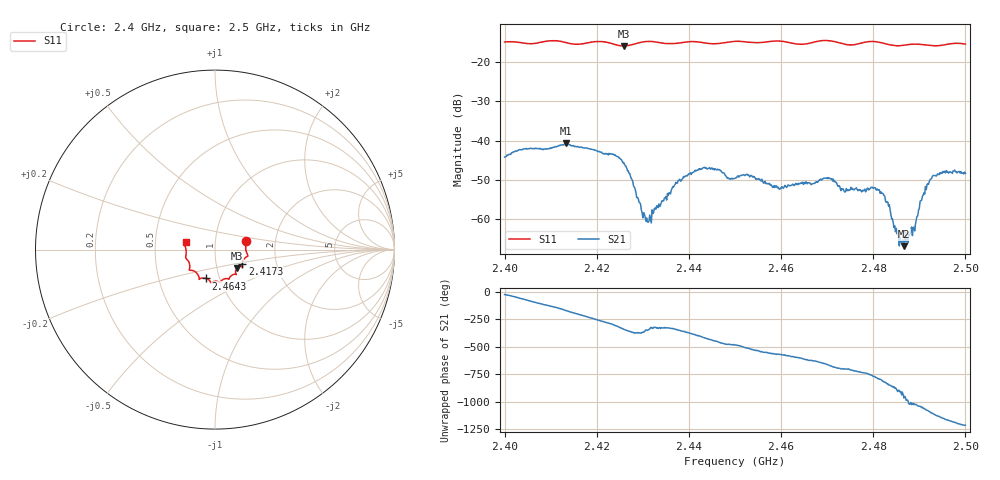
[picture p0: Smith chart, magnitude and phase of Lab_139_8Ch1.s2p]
# Hz S RI R 50
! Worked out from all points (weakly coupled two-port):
!   601 points, 2.4 GHz to 2.5 GHz, reference 50 ohm
!   highest |S21| = -40.72 dB at 2.4133 GHz (marker M1); lowest = -66.9 dB at 2.4867 GHz (marker M2)
!   lowest |S11| = -15.9 dB at 2.4258 GHz (marker M3), VSWR 1.38, Z = 62.3 - j13.3 ohm
!   |S11| at or under -10 dB: start of sweep to end of sweep
!   S12 and S22 are empty: the file has one direction only
!   S11 on the Smith chart (normalised r, x): 2.4 GHz: 1.41, +0.14; 2.4173 GHz: 1.34, -0.23; 2.4643 GHz: 0.86, -0.28; 2.5 GHz: 0.72, +0.06
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2.4e9  0.1732 0.049  0.00564 -0.00248  0 0  0 0
2.413333e9  0.1714 -0.0429  -0.00905 -0.00164  0 0  0 0
2.416667e9  0.1526 -0.0744  -0.00715 0.00417  0 0  0 0
2.417333e9  0.1518 -0.0818  -0.00628 0.00502  0 0  0 0
2.425833e9  0.1218 -0.1036  0.0049 0.00191  0 0  0 0
2.4305e9  0.1182 -0.138  0.00105 0.000133  0 0  0 0
2.433333e9  0.1129 -0.1373  0.00123 0.000665  0 0  0 0
2.4375e9  0.0843 -0.1515  0.00277 0.000766  0 0  0 0
2.441833e9  0.075 -0.1644  0.00338 -0.00252  0 0  0 0
2.45e9  0.0287 -0.181  -0.00179 -0.00278  0 0  0 0
2.464333e9  -0.0499 -0.1606  -0.00136 0.00256  0 0  0 0
2.466667e9  -0.076 -0.1591  -0.000367 0.00276  0 0  0 0
2.47e9  -0.088 -0.1658  0.00169 0.00293  0 0  0 0
2.4735e9  -0.0939 -0.1417  0.00225 0.000877  0 0  0 0
2.48e9  -0.1433 -0.1134  0.00165 -0.00183  0 0  0 0
2.483333e9  -0.1407 -0.0899  -0.000859 -0.00117  0 0  0 0
2.485667e9  -0.1472 -0.0655  -0.000456 -1.99e-05  0 0  0 0
2.486667e9  -0.1531 -0.0579  -0.000198 0.000407  0 0  0 0
2.489e9  -0.1627 -0.0454  0.000362 0.000605  0 0  0 0
2.4905e9  -0.1625 -0.0376  0.00152 0.000835  0 0  0 0
2.492833e9  -0.1606 -0.016  0.00319 -0.00141  0 0  0 0
2.5e9  -0.164 0.0423  -0.00251 -0.00288  0 0  0 0
